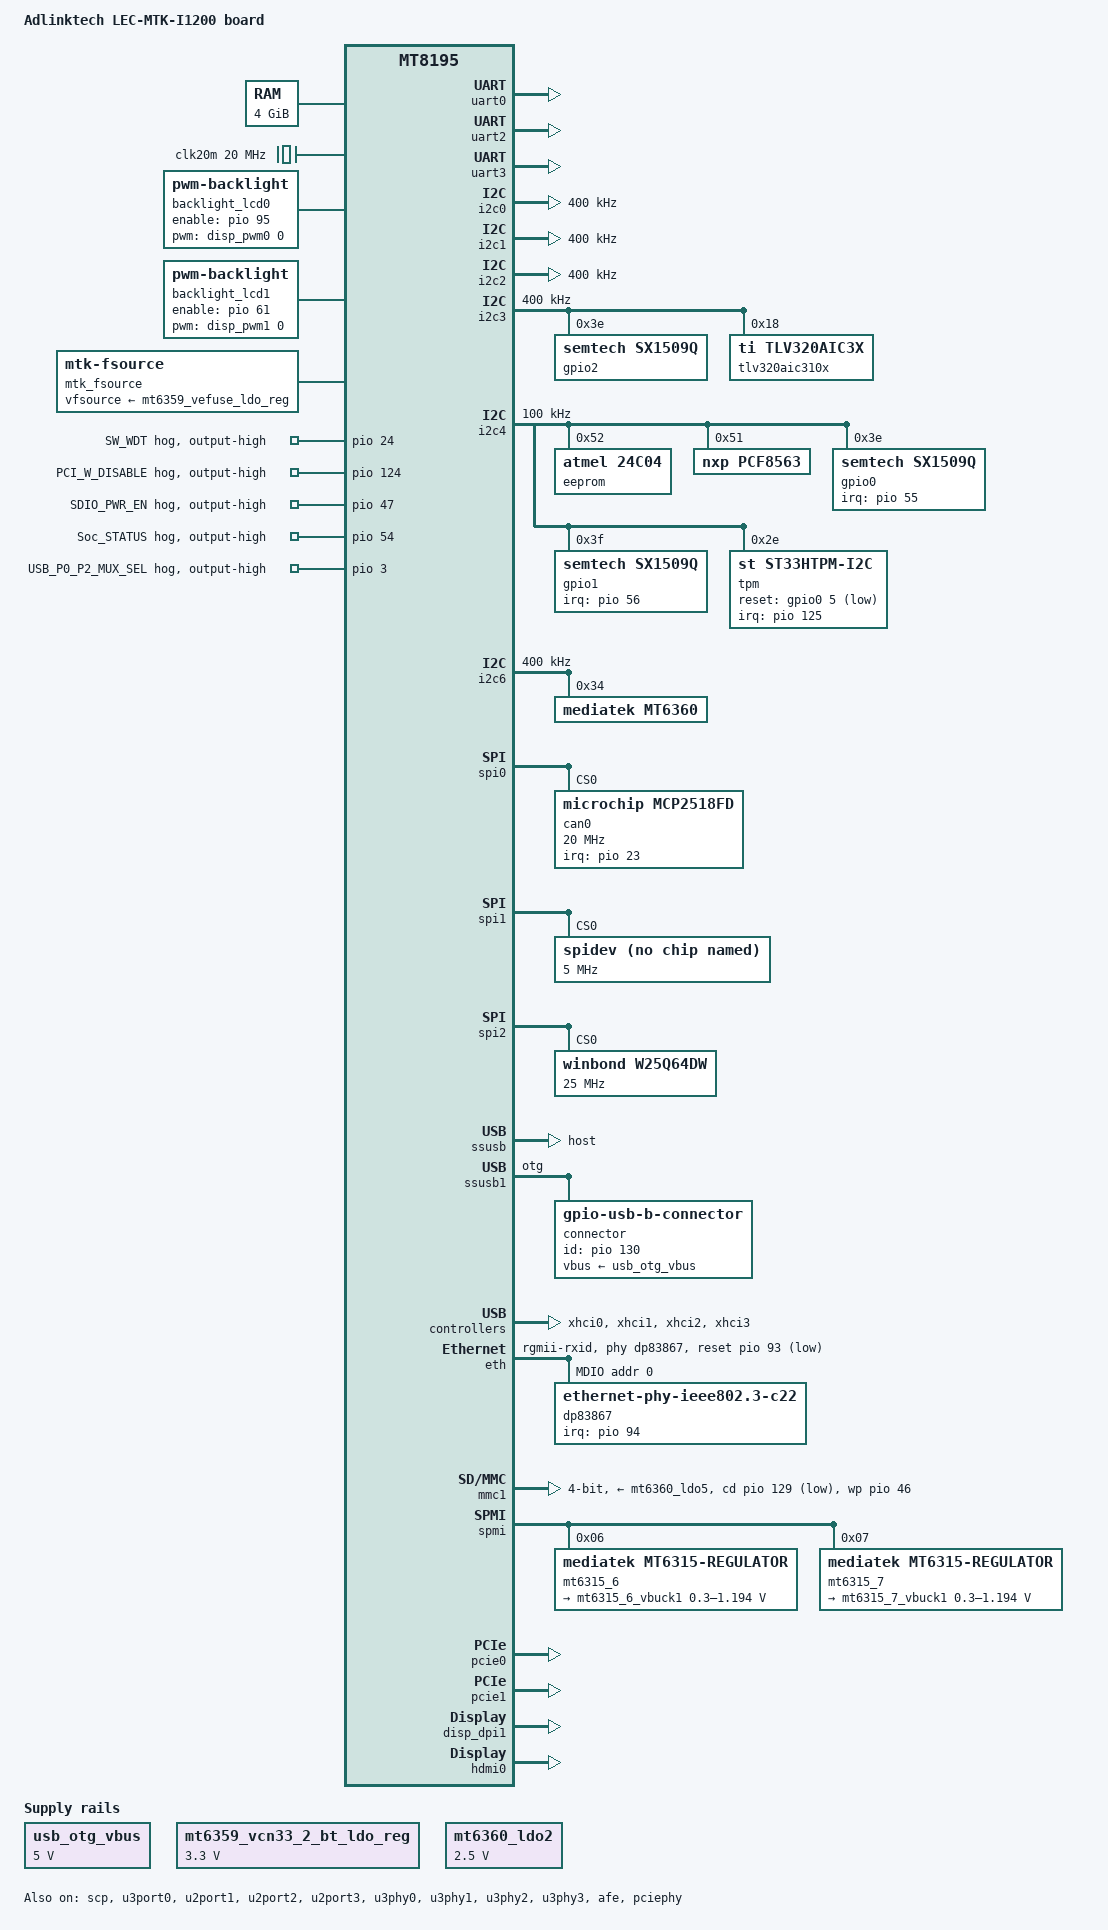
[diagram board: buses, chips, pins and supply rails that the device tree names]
// SPDX-License-Identifier: (GPL-2.0 OR MIT)
/*
 * Copyright (C) 2023 MediaTek Inc.
 * Author: Ben Lok <ben.lok@mediatek.com>
 */
/dts-v1/;
#include "mt8195-iot-usb.dtsi"
#include "mt6359.dtsi"
#include <dt-bindings/gpio/gpio.h>
#include <dt-bindings/input/input.h>
#include <dt-bindings/interrupt-controller/irq.h>
#include <dt-bindings/pinctrl/mt8195-pinfunc.h>
#include <dt-bindings/usb/pd.h>
#include <dt-bindings/net/ti-dp83867.h>

/ {
	model = "Adlinktech LEC-MTK-I1200 board";
	compatible = "mediatek,mt8395-evk", "mediatek,mt8195";

	aliases {
		serial0 = &uart0;
		i2c0 = &i2c0;
		i2c1 = &i2c1;
		i2c2 = &i2c2;
		i2c3 = &i2c3;
		i2c4 = &i2c4;
		i2c6 = &i2c6;
		rtc0 = &pcf8563;
		rtc1 = &mt6359rtc;

	};

	chosen {
		stdout-path = "serial0:921600n8";
	};

	memory@40000000 {
		device_type = "memory";
		reg = <0 0x40000000 0x1 0x00000000>;
	};

	reserved-memory {
		#address-cells = <2>;
		#size-cells = <2>;
		ranges;

		/* 12 MiB reserved for OP-TEE (BL32)
		 * +-----------------------+ 0x43e0_0000
		 * |      SHMEM 2MiB       |
		 * +-----------------------+ 0x43c0_0000
		 * |        | TA_RAM  8MiB |
		 * + TZDRAM +--------------+ 0x4340_0000
		 * |        | TEE_RAM 2MiB |
		 * +-----------------------+ 0x4320_0000
		 */
		optee_reserved: optee@43200000 {
			no-map;
			reg = <0 0x43200000 0 0x00c00000>;
		};

		scp_mem_reserved: scp_mem_region {
			compatible = "shared-dma-pool";
			reg = <0 0x50000000 0 0x2900000>;
			no-map;
		};

		/* 2 MiB reserved for ARM Trusted Firmware (BL31) */
		bl31_secmon_reserved: secmon@54600000 {
			no-map;
			reg = <0 0x54600000 0x0 0x200000>;
		};

		snd_dma_mem_reserved: snd_dma_mem_region {
			compatible = "shared-dma-pool";
			reg = <0 0x60000000 0 0x1100000>;
			no-map;
		};

		apu_reserve_memory: apu-reserve-memory{
			compatible = "shared-dma-pool";
			size = <0 0x1400000>; //20 MB
			alignment = <0 0x10000>;
			reg = <0 0x62000000 0 0x1400000>;

		};

		vpu_reserve_memory: vpu-reserve-memory {
			compatible = "shared-dma-pool";
			size = <0 0x1400000>; //20 MB
			alignment = <0 0x10000>;
			reg = <0 0x53000000 0 0x1400000>;
		};
	};

	firmware {
		optee {
			compatible = "linaro,optee-tz";
			method = "smc";
		};
	};

	opp_table_apu_conn: opp-table-apu-conn {
		compatible = "operating-points-v2";

		opp-0 {
			opp-hz = /bits/ 64 <728000000>;
			opp-microvolt = <775000>;
		};
		opp-1 {
			opp-hz = /bits/ 64 <624000000>;
			opp-microvolt = <750000>;
		};
		opp-2 {
			opp-hz = /bits/ 64 <500000000>;
			opp-microvolt = <700000>;
		};
		opp-3 {
			opp-hz = /bits/ 64 <312000000>;
			opp-microvolt = <650000>;
		};
		opp-4 {
			opp-hz = /bits/ 64 <238000000>;
			opp-microvolt = <600000>;
		};
		opp-5 {
			opp-hz = /bits/ 64 <208000000>;
			opp-microvolt = <575000>;
		};
	};

	opp_table_apu_rv: opp-table-apu-rv {
		compatible = "operating-points-v2";

		opp-0 {
			opp-hz = /bits/ 64 <728000000>;
			opp-microvolt = <775000>;
		};
		opp-1 {
			opp-hz = /bits/ 64 <624000000>;
			opp-microvolt = <750000>;
		};
		opp-2 {
			opp-hz = /bits/ 64 <500000000>;
			opp-microvolt = <700000>;
		};
		opp-3 {
			opp-hz = /bits/ 64 <312000000>;
			opp-microvolt = <650000>;
		};
		opp-4 {
			opp-hz = /bits/ 64 <238000000>;
			opp-microvolt = <600000>;
		};
		opp-5 {
			opp-hz = /bits/ 64 <208000000>;
			opp-microvolt = <575000>;
		};
	};

	opp_table_vpu: opp-table-vpu {
		compatible = "operating-points-v2";

		opp-0 {
			opp-hz = /bits/ 64 <832000000>;
			opp-microvolt = <775000>;
		};
		opp-1 {
			opp-hz = /bits/ 64 <728000000>;
			opp-microvolt = <750000>;
		};
		opp-2 {
			opp-hz = /bits/ 64 <624000000>;
			opp-microvolt = <700000>;
		};
		opp-3 {
			opp-hz = /bits/ 64 <525000000>;
			opp-microvolt = <650000>;
		};
		opp-4 {
			opp-hz = /bits/ 64 <358000000>;
			opp-microvolt = <600000>;
		};
		opp-5 {
			opp-hz = /bits/ 64 <275000000>;
			opp-microvolt = <575000>;
		};
	};

	opp_table_dla: opp-table-dla {
		compatible = "operating-points-v2";

		opp-0 {
			opp-hz = /bits/ 64 <960000000>;
			opp-microvolt = <800000>;
		};
		opp-1 {
			opp-hz = /bits/ 64 <832000000>;
			opp-microvolt = <750000>;
		};
		opp-2 {
			opp-hz = /bits/ 64 <688000000>;
			opp-microvolt = <700000>;
		};
		opp-3 {
			opp-hz = /bits/ 64 <546000000>;
			opp-microvolt = <650000>;
		};
		opp-4 {
			opp-hz = /bits/ 64 <385000000>;
			opp-microvolt = <600000>;
		};
		opp-5 {
			opp-hz = /bits/ 64 <312000000>;
			opp-microvolt = <575000>;
		};
	};
        usb_otg_vbus: usb-otg-vbus-regulator {
                compatible = "regulator-fixed";
                regulator-name = "otg-vbus";
                regulator-min-microvolt = <5000000>;
                regulator-max-microvolt = <5000000>;
                enable-active-high;
        };

	clk20m: oscillator2 {
                compatible = "fixed-clock";
                #clock-cells = <0>;
                clock-frequency = <20000000>;
                clock-output-names = "clk20m";
        };
	
	backlight_lcd0: backlight-lcd0 {
		compatible = "pwm-backlight";
                pwms = <&disp_pwm0 0 500000>;
		enable-gpios = <&pio 95 GPIO_ACTIVE_HIGH>;
		brightness-levels = <0 1023>;
		num-interpolated-steps = <1023>;
		default-brightness-level = <576>;
	};

	backlight_lcd1: backlight-lcd1 {
		compatible = "pwm-backlight";
		pwms = <&disp_pwm1 0 500000>;
		enable-gpios = <&pio 61 GPIO_ACTIVE_HIGH>;
		brightness-levels = <0 1023>;
		num-interpolated-steps = <1023>;
		default-brightness-level = <576>;
	};

	edp_panel: panel {
		pinctrl-names = "default";
		pinctrl-0 = <&panel0_en_pin>;
	        compatible = "lg,lp120up1";
	        backlight = <&backlight_lcd0>;
	        label = "BOE NE135FBMN41 (WIP)";
	        width-mm = <285>;
	        height-mm = <190>;
		enable-gpios = <&pio 96 GPIO_ACTIVE_HIGH>;
	        status = "disabled";

	        port {
	                panel_in: endpoint {
	                        remote-endpoint = <&edp_out>;
	                };
	        };
	};
	
	mtk_fsource: fsource {
		compatible = "mtk-fsource";
		vfsource-supply = <&mt6359_vefuse_ldo_reg>;
	};
};

&uart0 {
	pinctrl-0 = <&uart0_pins>;
	pinctrl-names = "default";
	status = "okay";
};

&uart2 {
        pinctrl-0 = <&uart2_pins>;
        pinctrl-names = "default";
        status = "okay";
};

&uart3 {
        pinctrl-0 = <&uart3_pins>;
        pinctrl-names = "default";
        status = "okay";
};

&scp {
	status = "okay";
};

&pmic {
	interrupt-parent = <&pio>;
	interrupts = <222 IRQ_TYPE_LEVEL_HIGH>;
};

&scp {
	memory-region = <&scp_mem_reserved>;
	status = "okay";
};
/* I2C_CAM0 */
&i2c0 {
	clock-frequency = <400000>;
	pinctrl-0 = <&i2c0_pins>;
	pinctrl-names = "default";
	status = "okay";
};

/* I2C_CAM1 */
&i2c1 {
	clock-frequency = <400000>;
	pinctrl-0 = <&i2c1_pins>;
	pinctrl-names = "default";
	status = "okay";
};

/* I2C_PM */
&i2c2 {
	clock-frequency = <400000>;
	pinctrl-0 = <&i2c2_pins>;
	pinctrl-names = "default";
	status = "okay";
};

/* I2C_GP */
&i2c3 {
	clock-frequency = <400000>;
	pinctrl-0 = <&i2c3_pins>;
	pinctrl-names = "default";
	status = "okay";
       /* SX1509(2) U1001 on IPI-SMARC-PLUS */
        gpio2:gpio_exp2@3e {
                        /* GPIO Expander 0 Mapping :
                         * - 0: E_GPIO1_0		<=>
                         * - 1: E_GPIO1_1		<=>
                         * - 2: E_GPIO1_2		<=>
                         * - 3: E_GPIO1_3		<=>
                         * - 4: E_GPIO1_4		<=>
                         * - 5: E_GPIO1_5		<=>
                         * - 6: E_GPIO1_6		<=>
                         * - 7: E_GPIO1_7		<=>
                         * - 8: E_GPIO1_8		<=>
                         */
                        #gpio-cells = <2>;
                        #interrupt-cells = <2>;
                        compatible = "semtech,sx1509q";
                        reg = <0x3e>;
                        semtech,probe-reset;
                        gpio-controller;
        };

        tlv320aic310x: tlv320aic310x@18 {
			compatible = "ti,tlv320aic3x";
			#sound-dai-cells = <0>;
			reg = <0x18>;
			ai3x-micbias-vg = <2>; /* MICBIAS_2_5V */
			status = "okay";
        };

        wm8960: wm8960@1a {
            compatible = "wlf,wm8960";
            #sound-dai-cells = <0>;
            reg = <0x1a>;
            clocks = <&topckgen CLK_TOP_I2SO1_MCK>;
            clock-names = "top_i2so1_mck";
            wlf,shared-lrclk;
            wlf,hp-cfg = <2 3 3>;
            status = "disabled";
        };
};

/* I2C_SYS */
&i2c4 {
	clock-frequency = <100000>;  //crypto ic only can work on 100k clock frequency
	pinctrl-0 = <&i2c4_pins>;
	pinctrl-names = "default";
	status = "okay";

	/* EEPROM U3903 */
    eeprom: 24c04@52 {
		compatible = "atmel,24c04";
		reg = <0x52>;
	};

	/* RTC U4005 */
	pcf8563: rtc@51 {
		compatible = "nxp,pcf8563";
		reg = <0x51>;
		#clock-cells = <0>;
	};

	/* SX1509(0) U4006 */
	gpio0: gpio_exp0@3e {
			/* GPIO Expander 0 Mapping :
			 * - 0: LS_OE_CTL			 =>			Level Shifter oe pin(out high) 
			 * - 1: CN_GPIO7			<=>			SMARC GPIO7
			 * - 2: CN_GPIO8			<=>			SMARC GPIO8
			 * - 3: CN_GPIO9			<=>			SMARC GPIO9
			 * - 4: CN_GPIO10			<=>			SMARC GPIO10
			 * - 5: TPM_RST_N			 =>			TPM RST(out low / pull-high)
			 * - 6: TPM_PP				 =>			TPM PP (out high)
			 * - 7: TPM_LP				 =>			TPM LP (out high)
			 * - 8: SLEEP#				<=			SMARC SLEEP# (won't use)
			 * - 9: CHARGING#			<=			SMARC CHARGING# (won't use)
			 * - 10: BATLOW#			<=			SMARC BATLOW# (won't use)
			 * - 11: TEST#				<=			SMARC TEST# (won't use)
			 * - 12: LID#				<=			SMARC LID# (won't use)
			 * - 13: CN_GPIO11			<=>			SMARC GPIO11
			 * - 14: CN_GPIO12			<=>			SMARC GPIO12
			 * - 15: CN_GPIO13			<=>         SMARC GPIO13
			 */
			#gpio-cells = <2>;
			#interrupt-cells = <2>;
			compatible = "semtech,sx1509q";
			reg = <0x3e>;
			pinctrl-names = "default";
			pinctrl-0 = <&gpio_exp0_pins &ls_oe_ctl &tpm_pp &tpm_lp>;
			semtech,probe-reset;
			gpio-controller;
			interrupt-controller;

			interrupt-parent = <&pio>;
			interrupts = <55 IRQ_TYPE_EDGE_FALLING>;
                        ls_oe_ctl: gpio0-cfg {
                                pins = "gpio0";
                                output-high;
                        };
                        tpm_pp: gpio6-cfg {
                                pins = "gpio6";
                                output-high;
                        };
                        tpm_lp: gpio7-cfg {
                                pins = "gpio7";
                                output-high;
                        };

	};


	/* SX1509(1) U4007 */
	gpio1: gpio_exp1@3f {
                        /* GPIO Expander 0 Mapping :
                         * - 0: PRI_DISP_P0_3V3_SEL     =>      (out low)->DSI0 , (out high)->eDP0
                         * - 1: USB0_EN_OC#             <=      (input,NP)
                         * - 2: USB1_EN_OC#             <=      (input,NP)
                         * - 3: USB_HUB_3V3_RST_N       =>      (out high)
                         * - 4: USB_ETH1_3V3_RST_N      =>      (out high)
                         * - 5: WIFI_PowerDown#         =>      (out high)
                         * - 6: CAM2_PWR_EN             =>      (out high)
                         * - 7: CAM2_LED_EN             =>      (out high)
                         * - 8: PCIe_3V3_SEL		=>	(out high)->PCIe A/B for Gen 3 (out low)->PCIe A for Gen3 , PCIe B for Gen2
                         * - 9:
                         * - 10:
                         * - 11: BT_UART_RST_N          =>      (out high)
                         * - 12: USB_UART_RST_N         =>      (out high)
                         * - 13:
                         * - 14:
                         * - 15:
                         */
                        #gpio-cells = <2>;
                        #interrupt-cells = <2>;
                        compatible = "semtech,sx1509q";
                        reg = <0x3f>;
                        pinctrl-names = "default";
                        pinctrl-0 = <&gpio_exp1_pins &pri_disp_p0_3v3_sel1 &usb0_en_oc &usb1_en_oc &usb_hub_3v3_rst_n &usb_eth1_3v3_rst_n &wifi_powerdown &cam2_pwr_en &cam2_led_en &pcie_3v3_sel &bt_uart_rst_n &usb_uart_rst_n>;
                        semtech,probe-reset;
                        gpio-controller;
                        interrupt-controller;

                        interrupt-parent = <&pio>;
                        interrupts = <56 IRQ_TYPE_EDGE_FALLING>;
                        pri_disp_p0_3v3_sel1: gpio01-cfg {
                                pins = "gpio0";
                                output-low;
                        };
                        pri_disp_p0_3v3_sel2: gpio02-cfg {
                                pins = "gpio0";
                                output-high;
                        };
                        usb0_en_oc: gpio1-cfg {
                                pins = "gpio1";
                                bias-pull-up;
                        };
                        usb1_en_oc: gpio2-cfg {
                                pins = "gpio2";
                                bias-pull-up;
                        };
                        usb_hub_3v3_rst_n: gpio3-cfg {
                                pins = "gpio3";
                                output-high;
                        };
                        usb_eth1_3v3_rst_n: gpio4-cfg {
                                pins = "gpio4";
                                output-high;
                        };
                        wifi_powerdown: gpio5-cfg {
                                pins = "gpio5";
                                output-low;
                        };
                        cam2_pwr_en: gpio6-cfg {
                                pins = "gpio6";
                                output-high;
                        };
                        cam2_led_en: gpio7-cfg {
                                pins = "gpio7";
                                output-high;
                        };
                        pcie_3v3_sel: gpio8-cfg {
                                pins = "gpio8";
                                output-high;
                        };
                        bt_uart_rst_n: gpio11-cfg {
                                pins = "gpio11";
                                output-high;
                        };
                        usb_uart_rst_n: gpio12-cfg {
                                pins = "gpio12";
                                output-high;
                        };
	};

	/* TPM - ST33TPHF2XI2C U2301 */
	st33tphf2xi2c@2e {
		#gpio-cells = <2>;
		#interrupt-cells = <2>;
		compatible = "st,st33htpm-i2c";
		reg = <0x2e>;
		label = "tpm";
		pinctrl-names = "default";
		pinctrl-0 = <&tpm_pins>;
		interrupt-parent = <&pio>;
		interrupts = <125 IRQ_TYPE_LEVEL_LOW>;
		reset-gpio = <&gpio0 5 GPIO_ACTIVE_LOW>;
		status = "okay";
	};

};
 
&i2c6 {
	clock-frequency = <400000>;
	pinctrl-0 = <&i2c6_pins>;
	pinctrl-names = "default";
	#address-cells = <1>;
	#size-cells = <0>;
	status = "okay";

	mt6360: mt6360@34 {
		compatible = "mediatek,mt6360";
		reg = <0x34>;
		pinctrl-0 = <&mt6360_pins>;
		pinctrl-names = "default";
		interrupts = <101 IRQ_TYPE_EDGE_FALLING>;
	};
};

&spi0 {
	pinctrl-0 = <&spi0_pins>;
	pinctrl-names = "default";
	mediatek,pad-select = <0>;
	status = "okay";

	can0: can@0 {
		compatible = "microchip,mcp2518fd";
		reg = <0>;
		clocks = <&clk20m>;
		pinctrl-names = "default";
		pinctrl-0 = <&can0_pins>;
		spi-max-frequency = <20000000>;
		interrupts-extended = <&pio 23 IRQ_TYPE_LEVEL_LOW>;
		vdd-supply = <3300000>;
		xceiver-supply = <3300000>;

	};
};

&spi1 {
	pinctrl-0 = <&spi1_pins>;
	pinctrl-names = "default";
	mediatek,pad-select = <0>;
	#address-cells = <1>;
	#size-cells = <0>;
	status = "okay";

	spidev@0 {
		compatible = "rohm,dh2228fv";
		spi-max-frequency = <5000000>;
		reg = <0>;
	};
};

&spi2 {
	pinctrl-0 = <&spi2_pins>;
	pinctrl-names = "default";
	mediatek,pad-select = <0>;
	#address-cells = <1>;
	#size-cells = <0>;
	status = "okay";

        w25q64dw: spi-flash@0 {
                compatible = "winbond,w25q64dw", "jedec,spi-nor";
                reg = <0>;
                spi-max-frequency = <25000000>;
        };
};

&ssusb {
        pinctrl-0 = <&usb_p0_pins>;
        pinctrl-names = "default";
        maximum-speed = "super-speed";
        vusb33-supply = <&mt6359_vusb_ldo_reg>;
        usb-role-switch;
        dr_mode = "host";
        status = "okay";
};

&ssusb1 {
        pinctrl-0 = <&usb_p2_pins>;
        pinctrl-names = "default";
        maximum-speed = "high-speed";
        usb-role-switch;
        dr_mode = "otg";
        vusb33-supply = <&mt6359_vusb_ldo_reg>;
        status = "okay";

        connector {
                compatible = "gpio-usb-b-connector", "usb-b-connector";
                type = "micro";
                id-gpios = <&pio 130 GPIO_ACTIVE_HIGH>;
                vbus-supply = <&usb_otg_vbus>;
        };
};

&edp_tx {
	pinctrl-names = "default";
	pinctrl-0 = <&edp_pin>;
	status = "disabled";

        ports {
                #address-cells = <1>;
                #size-cells = <0>;

                port@0 {
                        reg = <0>;
                        edp_in: endpoint {
                        remote-endpoint = <&dp_intf0_out>;
                        };
                };

                port@1 {
                        reg = <1>;
                        edp_out: endpoint {
                                remote-endpoint = <&panel_in>;
                        };
                };
        };
};


&dp_intf0 {
	status = "disabled";
        ports {
                port {
                        dp_intf0_out: endpoint {
                                remote-endpoint = <&edp_in>;
                        };
                };
        };
};


&xhci0 {
	vusb33-supply = <&mt6359_vusb_ldo_reg>;
	mediatek,phy-regs = <0x11e40000>; // for compliance test mode
	status = "okay";
};

&xhci1 { //WIFI&BT
	vusb33-supply = <&mt6359_vusb_ldo_reg>;
	mediatek,phy-regs = <0x11e30000>; // for compliance test mode
	mediatek,u3p-dis-msk = <1>;
	status = "okay";
};

&xhci2 {
	vusb33-supply = <&mt6359_vusb_ldo_reg>;
	mediatek,phy-regs = <0x11c40000>; // for compliance test mode
	status = "okay";
};

&xhci3 {	//SMARC USB1
	vusb33-supply = <&mt6359_vusb_ldo_reg>;
	mediatek,phy-regs = <0x11c50000>; // for compliance test mode
	status = "okay";
};

&u3port0 {
	status = "okay";
};

&u2port1 {
	status = "okay";
};

&u2port2 {
	status = "okay";
};

&u2port3 {
	status = "okay";
};

&u3phy0 {
	status = "okay";
};

&u3phy1 {
	status = "okay";
};

&u3phy2 {
	status = "okay";
};

&u3phy3 {
	status = "okay";
};

&mipi_tx0 {
	status = "disabled";
};

&dsi0 {
	status = "disabled";
	#address-cells = <1>;
	#size-cells = <0>;
	poweron-in-hs-mode = <0>;
	dsi_panel@0 {
		compatible = "auo,b101uan01v7";
		reg = <0>;
		enable-gpios = <&pio 96 0>;
		pinctrl-names = "default";
		pinctrl-0 = <&panel0_en_pin>;
		backlight = <&backlight_lcd0>;
		status = "okay";
		port {
			dsi_panel_in: endpoint {
				remote-endpoint = <&dsi_out>;
			};
		};
	};
	ports {
		port {
			dsi_out: endpoint {
				remote-endpoint = <&dsi_panel_in>;
			};
		};
	};
};

&disp_pwm0 {
	pinctrl-names = "default";
	pinctrl-0 = <&pwm0_gpio_def_cfg>;
	status = "disabled";
};

&disp_pwm1 {
	pinctrl-names = "default";
	pinctrl-0 = <&pwm1_gpio_def_cfg>;
	status = "disabled";
};

&eth {
    phy-mode ="rgmii-rxid";
    phy-handle = <&dp83867>;
    pinctrl-names = "default";
    pinctrl-0 = <&eth_default>;
    snps,reset-active-low;
    snps,reset-delays-us = <0 10000 10000>;
    mediatek,tx-delay-ps = <2030>;
    snps,reset-gpio = <&pio 93 GPIO_ACTIVE_HIGH>;
    eeprom = <&eeprom>;
    status = "okay";

	mdio {
		compatible = "snps,dwmac-mdio";
		#address-cells = <1>;
		#size-cells = <0>;

		dp83867: ethernet-phy@0 {
				compatible = "ethernet-phy-ieee802.3-c22";
				reg = <0>;
				interrupt-parent = <&pio>;
				interrupts = <94 IRQ_TYPE_EDGE_FALLING>;

				ti,rx-internal-delay = <DP83867_RGMIIDCTL_2_25_NS>;
				ti,tx-internal-delay = <DP83867_RGMIIDCTL_3_00_NS>;
				ti,fifo-depth = <DP83867_PHYCR_FIFO_DEPTH_4_B_NIB>;
				ti,clk-output-sel = <DP83867_CLK_O_SEL_OFF>;
		};
	};
};

&pio {
        sw_wdt {
                gpio-hog;
                gpios = <24 GPIO_ACTIVE_HIGH>;
                output-high;
                line-name = "SW_WDT";
        };

        pcie_disable {
                gpio-hog;
                gpios = <124 GPIO_ACTIVE_HIGH>;
                output-high;
                line-name = "PCI_W_DISABLE";

        };

	sdio_pwr_en {
		gpio-hog;
		gpios = <47 GPIO_ACTIVE_HIGH>;
		output-high;
		line-name = "SDIO_PWR_EN";
	};

	soc_status {
		gpio-hog;
		gpios = <54 GPIO_ACTIVE_HIGH>;
		output-high;
		line-name = "Soc_STATUS";
	};

	usb_p0_p2_mux_sel {
		gpio-hog;
		gpios = <3 GPIO_ACTIVE_HIGH>;
		output-high;  //USB P2 <--> SMARC OTG
		line-name = "USB_P0_P2_MUX_SEL";
	};

        usb_p0_pins: usb_p0_pins {
                pin_iddig {
                        pinmux = <PINMUX_GPIO128__FUNC_IDDIG>;
                        input-enable;
                        bias-pull-up;
                };
                pins_cmd_dat {
                        pinmux = <PINMUX_GPIO63__FUNC_VBUSVALID>;
                        input-enable;
                        bias-pull-up;
                };
        };

        usb_p2_pins: usb_p2_pins {
                pin_iddig {
                        pinmux = <PINMUX_GPIO130__FUNC_IDDIG_1P>;
                        input-enable;
                        bias-pull-up;
                };
                pin_cmd_dat {
                        pinmux = <PINMUX_GPIO102__FUNC_VBUSVALID_2P>;
                        input-enable;
                        bias-pull-up;
                };
        };

	mmc1_pins_default: mmc1-pins-default {
		pins_cmd_dat {
			pinmux = <PINMUX_GPIO110__FUNC_MSDC1_CMD>,
				 <PINMUX_GPIO112__FUNC_MSDC1_DAT0>,
				 <PINMUX_GPIO113__FUNC_MSDC1_DAT1>,
				 <PINMUX_GPIO114__FUNC_MSDC1_DAT2>,
				 <PINMUX_GPIO115__FUNC_MSDC1_DAT3>;
			input-enable;
			drive-strength = <MTK_DRIVE_16mA>;
			bias-pull-up = <MTK_PUPD_SET_R1R0_01>;
		};

		pins_clk {
			pinmux = <PINMUX_GPIO111__FUNC_MSDC1_CLK>;
			drive-strength = <MTK_DRIVE_16mA>;
			bias-pull-down = <MTK_PUPD_SET_R1R0_10>;
		};

		pins_insert {
			pinmux = <PINMUX_GPIO129__FUNC_GPIO129>;
			bias-pull-up;
		};

	        pins_wp {
	            pinmux = <PINMUX_GPIO46__FUNC_GPIO46>;
	            input-enable;
	            bias-pull-up;
	        };

	};

	mmc1_pins_uhs: mmc1-pins-uhs {
		pins_cmd_dat {
			pinmux = <PINMUX_GPIO110__FUNC_MSDC1_CMD>,
				 <PINMUX_GPIO112__FUNC_MSDC1_DAT0>,
				 <PINMUX_GPIO113__FUNC_MSDC1_DAT1>,
				 <PINMUX_GPIO114__FUNC_MSDC1_DAT2>,
				 <PINMUX_GPIO115__FUNC_MSDC1_DAT3>;
			input-enable;
			drive-strength = <MTK_DRIVE_16mA>;
			bias-pull-up = <MTK_PUPD_SET_R1R0_01>;
		};

		pins_clk {
			pinmux = <PINMUX_GPIO111__FUNC_MSDC1_CLK>;
			drive-strength = <MTK_DRIVE_16mA>;
			bias-pull-down = <MTK_PUPD_SET_R1R0_10>;
		};
	};

	panel_pins_default: panel_pins_default {
		pins_cmd_dat {
			pinmux = <PINMUX_GPIO108__FUNC_GPIO108>,
				<PINMUX_GPIO137__FUNC_GPIO137>;
			output-high;
		};
	};

	pwm0_gpio_def_cfg: pwm0default {
		pins_cmd_dat {
			pinmux = <PINMUX_GPIO97__FUNC_DISP_PWM0>;
		};
	};
	
	pwm1_gpio_def_cfg: pwm1default {
		pins_cmd_dat {
			pinmux = <PINMUX_GPIO104__FUNC_DISP_PWM1>;
		};
	};

	aud_pins_default: audiodefault {
		pins_cmd_dat {
			pinmux = <PINMUX_GPIO49__FUNC_I2SIN_D0>,
				 <PINMUX_GPIO50__FUNC_I2SO1_MCK>,
				 <PINMUX_GPIO51__FUNC_I2SO1_BCK>,
				 <PINMUX_GPIO52__FUNC_I2SO1_WS>,
				 <PINMUX_GPIO53__FUNC_I2SO1_D0>;
		};
	};


	i2c0_pins: i2c0-pins {
		pins {
			pinmux = <PINMUX_GPIO8__FUNC_SDA0>,
				 <PINMUX_GPIO9__FUNC_SCL0>;
			bias-pull-up = <MTK_PULL_SET_RSEL_111>;
			mediatek,drive-strength-adv = <7>;
		};
	};

	i2c1_pins: i2c1-pins {
		pins {
			pinmux = <PINMUX_GPIO10__FUNC_SDA1>,
				 <PINMUX_GPIO11__FUNC_SCL1>;
			bias-pull-up = <MTK_PULL_SET_RSEL_111>;
			mediatek,drive-strength-adv = <7>;
		};
	};

	i2c2_pins: i2c2-pins {
		pins {
			pinmux = <PINMUX_GPIO12__FUNC_SDA2>,
				 <PINMUX_GPIO13__FUNC_SCL2>;
			bias-pull-up = <MTK_PULL_SET_RSEL_111>;
			mediatek,drive-strength-adv = <7>;
		};
	};

	i2c3_pins: i2c3-pins {
		pins {
			pinmux = <PINMUX_GPIO14__FUNC_SDA3>,
				 <PINMUX_GPIO15__FUNC_SCL3>;
			bias-pull-up = <MTK_PULL_SET_RSEL_111>;
			mediatek,drive-strength-adv = <7>;
		};
	};

	i2c4_pins: i2c4-pins {
		pins {
			pinmux = <PINMUX_GPIO16__FUNC_SDA4>,
				 <PINMUX_GPIO17__FUNC_SCL4>;
			bias-pull-up = <MTK_PULL_SET_RSEL_111>;
			mediatek,drive-strength-adv = <7>;
		};
	};
	i2c6_pins: i2c6-pin {
		pins {
			pinmux = <PINMUX_GPIO25__FUNC_SDA6>,
				 <PINMUX_GPIO26__FUNC_SCL6>;
			bias-pull-up;

		};
	};
	
	uart0_pins: uart0-pins {
		pins {
		    pinmux = <PINMUX_GPIO98__FUNC_UTXD0>,
		         <PINMUX_GPIO99__FUNC_URXD0>;
		};
	};

	uart2_pins: uart2-pins {
		pins {
		    pinmux = <PINMUX_GPIO27__FUNC_UCTS2>,
		         <PINMUX_GPIO28__FUNC_URTS2>,
		         <PINMUX_GPIO29__FUNC_UTXD2>,
		         <PINMUX_GPIO30__FUNC_URXD2>;
		};
	};

	uart3_pins: uart3-pins {
		pins {
		    pinmux = <PINMUX_GPIO4__FUNC_UTXD3>,
		         <PINMUX_GPIO5__FUNC_URXD3>;
		};
	};
	

	spi0_pins: spi0-pins {
		pins {
			pinmux = <PINMUX_GPIO132__FUNC_SPIM0_CSB>,
				 <PINMUX_GPIO133__FUNC_SPIM0_CLK>,
				 <PINMUX_GPIO134__FUNC_SPIM0_MO>,
				 <PINMUX_GPIO135__FUNC_SPIM0_MI>;
			bias-disable;
		};
	};

	spi1_pins: spi1-pins {
		pins {
			pinmux = <PINMUX_GPIO136__FUNC_SPIM1_CSB>,
				 <PINMUX_GPIO137__FUNC_SPIM1_CLK>,
				 <PINMUX_GPIO138__FUNC_SPIM1_MO>,
				 <PINMUX_GPIO139__FUNC_SPIM1_MI>;
			bias-disable;
		};
	};

	spi2_pins: spi2-pins {
		pins {
			pinmux = <PINMUX_GPIO140__FUNC_SPIM2_CSB>,
				 <PINMUX_GPIO141__FUNC_SPIM2_CLK>,
				 <PINMUX_GPIO142__FUNC_SPIM2_MO>,
				 <PINMUX_GPIO143__FUNC_SPIM2_MI>;
			bias-disable;
		};
	};

	eth_default: eth_default {
		txd_pins {
			pinmux = <PINMUX_GPIO77__FUNC_GBE_TXD3>,
				 <PINMUX_GPIO78__FUNC_GBE_TXD2>,
				 <PINMUX_GPIO79__FUNC_GBE_TXD1>,
				 <PINMUX_GPIO80__FUNC_GBE_TXD0>;
			drive-strength = <MTK_DRIVE_8mA>;
		};
		cc_pins {
			pinmux = <PINMUX_GPIO85__FUNC_GBE_TXC>,
				 <PINMUX_GPIO88__FUNC_GBE_TXEN>,
				 <PINMUX_GPIO87__FUNC_GBE_RXDV>,
				 <PINMUX_GPIO86__FUNC_GBE_RXC>;
			drive-strength = <MTK_DRIVE_8mA>;
		};
		rxd_pins {
			pinmux = <PINMUX_GPIO81__FUNC_GBE_RXD3>,
				 <PINMUX_GPIO82__FUNC_GBE_RXD2>,
				 <PINMUX_GPIO83__FUNC_GBE_RXD1>,
				 <PINMUX_GPIO84__FUNC_GBE_RXD0>;
		};
		mdio_pins {
			pinmux = <PINMUX_GPIO89__FUNC_GBE_MDC>,
				 <PINMUX_GPIO90__FUNC_GBE_MDIO>;
			input-enable;
		};
		phy_reset_pin {
			pinmux = <PINMUX_GPIO93__FUNC_GPIO93>;
		};
		phy_intr_pin {
			pinmux = <PINMUX_GPIO94__FUNC_GPIO94>;
		};
	};

	eth_sleep: eth_sleep {
		txd_pins {
			pinmux = <PINMUX_GPIO77__FUNC_GPIO77>,
				 <PINMUX_GPIO78__FUNC_GPIO78>,
				 <PINMUX_GPIO79__FUNC_GPIO79>,
				 <PINMUX_GPIO80__FUNC_GPIO80>;
		};
		cc_pins {
			pinmux = <PINMUX_GPIO85__FUNC_GPIO85>,
				 <PINMUX_GPIO88__FUNC_GPIO88>,
				 <PINMUX_GPIO87__FUNC_GPIO87>,
				 <PINMUX_GPIO86__FUNC_GPIO86>;
		};
		rxd_pins {
			pinmux = <PINMUX_GPIO81__FUNC_GPIO81>,
				 <PINMUX_GPIO82__FUNC_GPIO82>,
				 <PINMUX_GPIO83__FUNC_GPIO83>,
				 <PINMUX_GPIO84__FUNC_GPIO84>;
		};
		mdio_pins {
			pinmux = <PINMUX_GPIO89__FUNC_GPIO89>,
				 <PINMUX_GPIO90__FUNC_GPIO90>;
			input-disable;
			bias-disable;
		};
		phy_reset_pin {
			pinmux = <PINMUX_GPIO93__FUNC_GPIO93>;
			input-disable;
			bias-disable;
		};
		phy_intr_pin {
			pinmux = <PINMUX_GPIO94__FUNC_GPIO94>;
		};
	};

	pcie0_pins_default: pcie0default {
		pins {
			pinmux = <PINMUX_GPIO19__FUNC_WAKEN>,
				 <PINMUX_GPIO20__FUNC_PERSTN>,
				 <PINMUX_GPIO21__FUNC_CLKREQN>;
			bias-pull-up;
		};
	};

	pcie0_pins_idle: pcie0idle {
		pins {
			pinmux = <PINMUX_GPIO20__FUNC_GPIO20>;
			bias-disable;
			output-low;
		};
	};

	pcie1_pins_default: pcie1default {
		pins {
			pinmux = <PINMUX_GPIO0__FUNC_PERSTN_1>,
				 <PINMUX_GPIO1__FUNC_CLKREQN_1>,
				 <PINMUX_GPIO2__FUNC_WAKEN_1>;
			bias-pull-up = <MTK_PUPD_SET_R1R0_01>;
		};
	};

	can0_pins: can0-pins {
		pins {
		    pinmux = <PINMUX_GPIO23__FUNC_GPIO23>;
		};
	};
	
	tpm_pins: tpm-pins {
		pins {
		    pinmux = <PINMUX_GPIO125__FUNC_GPIO125>;
		};
	};
	
	gpio_exp0_pins: gpio-exp0-pins {
		pins {
		    pinmux = <PINMUX_GPIO55__FUNC_GPIO55>;
		};
	};

	gpio_exp1_pins: gpio-exp1-pins {
		pins {
		    pinmux = <PINMUX_GPIO56__FUNC_GPIO56>;
		};
	};

	mt6360_pins: mt6360-pins {
		pins {
			pinmux = <PINMUX_GPIO100__FUNC_GPIO100>,
				 <PINMUX_GPIO101__FUNC_GPIO101>;
			input-enable;
			bias-pull-up;
		};
	};

	dptx_pin: dptx_pin_default {
		pins_cmd_dat1 {
			pinmux = <PINMUX_GPIO18__FUNC_DP_TX_HPD>;
			bias-pull-up;
		};
	};

        hdmi_pins: hdmi-pins {
                pins-ddc {
                        pinmux = <PINMUX_GPIO34__FUNC_HDMITX20_SCL>,
                                <PINMUX_GPIO35__FUNC_HDMITX20_SDA>;
                        mediatek,drive-strength-adv = <0>;
                        drive-strength = <MTK_DRIVE_10mA>;
                        bias-disable; //disabled default Pull Down setting for HDMI
                };
        };


         panel0_en_pin: panel-en-pin {
                 pins_cmd_dat {
                     pinmux = <PINMUX_GPIO96__FUNC_GPIO96>;
                 };
         };

         panel1_en_pin: panel-en-pin {
                 pins_cmd_dat {
                     pinmux = <PINMUX_GPIO62__FUNC_GPIO62>;
                 };
        };

	edp_pin: edp_pin_default {
		pins_cmd_dat {
		    pinmux = <PINMUX_GPIO105__FUNC_EDP_TX_HPD>;
		    bias-pull-up = <MTK_PUPD_SET_R1R0_01>;
		};
	};
};

&mt6359_vgpu11_buck_reg {
	regulator-always-on;
};

&mt6359_vsram_others_ldo_reg {
	regulator-always-on;
};

&mt6359_vpu_buck_reg {
	regulator-always-on;
};

&mt6359_vcore_buck_reg {
	regulator-always-on;
};

&mt6359_vproc1_buck_reg {
	regulator-always-on;
};

&mt6359_vproc2_buck_reg {
	regulator-always-on;
};

&mt6359_vsram_md_ldo_reg {
	regulator-always-on;
};

&mt6359_vbbck_ldo_reg {
	regulator-always-on;
};

&mt6359_vaud18_ldo_reg {
	regulator-always-on;
};

&mt6359_vio18_ldo_reg {
	regulator-always-on;
};

&mt6359_vrf12_ldo_reg {
	regulator-always-on;
};

&mt6359_vrf18_ldo_reg {
	regulator-always-on;
};

&mt6359_vufs_ldo_reg {
        regulator-always-on;
};

&mt6359_vemc_1_ldo_reg {
        regulator-always-on;
};

&mt6359_vcn33_2_bt_ldo_reg {
	regulator-min-microvolt = <3300000>;
	regulator-max-microvolt = <3300000>;
	regulator-always-on;
};

/* DEBUG: to remove */
&mt6359_vibr_ldo_reg {
	regulator-always-on;
};

#include "mt6360.dtsi"

/* For EMI_VDD2 */
&mt6360_buck1 {
	regulator-always-on;
};

/* For EMI_VDDQ */
&mt6360_buck2 {
	regulator-always-on;
};

/* V_2V5_PMU for eth0 */
&mt6360_ldo2 {
        regulator-min-microvolt = <2500000>;
        regulator-max-microvolt = <2500000>;
	regulator-always-on;
};

/* For EMI_VMDDR_EN */
&mt6360_ldo7 {
	regulator-always-on;
};

&mmc1 {
	pinctrl-names = "default", "state_uhs";
	pinctrl-0 = <&mmc1_pins_default>;
	pinctrl-1 = <&mmc1_pins_uhs>;
	cd-gpios = <&pio 129 GPIO_ACTIVE_LOW>;
	wp-gpios = <&pio 46 GPIO_ACTIVE_HIGH>;
	bus-width = <4>;
	max-frequency = <208000000>;
	cap-sd-highspeed;
	sd-uhs-sdr50;
	sd-uhs-sdr104;
	vmmc-supply = <&mt6360_ldo5>;
	vqmmc-supply = <&mt6360_ldo3>;
	status = "okay";
};

&spmi {
	#address-cells = <2>;
	#size-cells = <2>;
	grpid = <11>;

	mt6315_6: mt6315@6 {
		compatible = "mediatek,mt6315-regulator";
		reg = <0x6 0 0xb 1>;

		regulators {
			mt6315_6_vbuck1: vbuck1 {
				regulator-compatible = "vbuck1";
				regulator-name = "Vbcpu";
				regulator-min-microvolt = <300000>;
				regulator-max-microvolt = <1193750>;
				regulator-enable-ramp-delay = <256>;
				regulator-allowed-modes = <0 1 2 4>;
				regulator-always-on;
			};
		};
	};

	mt6315_7: mt6315@7 {
		compatible = "mediatek,mt6315-regulator";
		reg = <0x7 0 0xb 1>;

		regulators {
			mt6315_7_vbuck1: vbuck1 {
				regulator-compatible = "vbuck1";
				regulator-name = "Vgpu";
				regulator-min-microvolt = <300000>;
				regulator-max-microvolt = <1193750>;
				regulator-enable-ramp-delay = <256>;
				regulator-allowed-modes = <0 1 2 4>;
				regulator-always-on;
			};
		};
	};
};

&afe {
	#sound-dai-cells = <0>;
	memory-region = <&snd_dma_mem_reserved>;
	mediatek,etdm-out1-multi-pin-mode = <1>;
	mediatek,dmic-iir-on;
	mediatek,etdm-in2-cowork-source=<2>;
	etdm-in2-cowork-source=<2>;
	status = "okay";
};

&mt6359codec {
	mediatek,mic-type-1 = <3>; /* DCC */
};

&sound {
	compatible = "mediatek,mt8395-evk";
	model = "mt8195_demo";
	pinctrl-names = "default";
	pinctrl-0 = <&aud_pins_default>;
	status = "okay";

	dai-link-0 {
		sound-dai = <&afe>;
		dai-link-name = "ETDM3_OUT_BE";

		codec-0 {
			sound-dai = <&hdmi0>;
		};
	};

	dai-link-1 {
		sound-dai = <&afe>;
		dai-link-name = "ETDM1_OUT_BE";
		codec-0 {
			sound-dai = <&tlv320aic310x>;
		};
	};

};

&mfg0 {
	domain-supply = <&mt6315_7_vbuck1>;
};

&pcie0 {
	pinctrl-names = "default", "idle";
	pinctrl-0 = <&pcie0_pins_default>;
	pinctrl-1 = <&pcie0_pins_idle>;
	status = "okay";
};

&pcie1 {
	pinctrl-names = "default";
	pinctrl-0 = <&pcie1_pins_default>;
	status = "okay";
	pd-gpios = <&gpio1 5 GPIO_ACTIVE_LOW>;
};

&u3phy1 {
	status = "okay";
};

&pciephy {
	status = "okay";
};

&dp_intf1 {
	status = "disabled";
	mediatek,oob-hpd;
	ports {
		port {
			dp_intf1_out: endpoint {
				remote-endpoint = <&dptx_in>;
			};
		};
	};
};

&dp_tx {
	pinctrl-names = "default";
	pinctrl-0 = <&dptx_pin>;
	status = "disabled";

	ports {
		port {
			dptx_in: endpoint {
				remote-endpoint = <&dp_intf1_out>;
			};
		};
	};
};

&disp_dpi1 {
	status = "okay";
	mediatek,indicated-display-path = <1>;
};

&hdmi0 {
	status = "okay";
};


